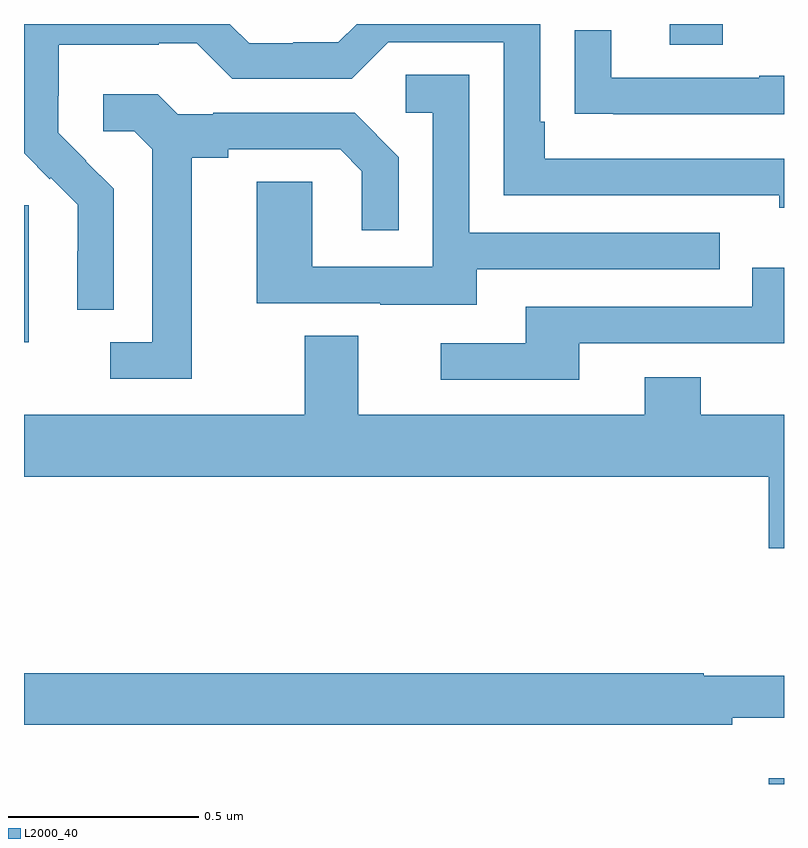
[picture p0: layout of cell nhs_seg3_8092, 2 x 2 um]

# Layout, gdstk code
import gdstk
lib = gdstk.Library(unit=1e-6, precision=1e-09)
def R(c, l, rs):  # rectangles x0, y0, x1, y1
    for r in rs: c.add(gdstk.rectangle(r[:2], r[2:], *l))
def P(c, l, *ps):  # polygons
    for p in ps: c.add(gdstk.Polygon(p, *l))
L2000_40 = (2000, 40)

nhs_seg3_8092 = lib.new_cell('nhs_seg3_8092')
R(nhs_seg3_8092, L2000_40, [(212.96,741.4,213,741.415), (211,742.562,211.012,742.923), (212.699,743.346,212.839,743.4)])
P(nhs_seg3_8092, L2000_40, [(211.236,742.966),(211.163,743.039),(211.164,743.04),(211.09,743.114),(211.09,743.211),(211.092,743.211),(211.092,743.345),(211.355,743.345),(211.355,743.349),(211.455,743.349),(211.548,743.256),(211.863,743.256),(211.959,743.352),(212.262,743.352),(212.262,742.95),(212.987,742.95),(212.987,742.916),(213,742.916),(213,743.046),(212.371,743.046),(212.371,743.143),(212.358,743.143),(212.358,743.4),(211.875,743.4),(211.827,743.352),(211.709,743.352),(211.709,743.349),(211.593,743.349),(211.542,743.4),(211,743.4),(211,743.06),(211.068,742.992),(211.071,742.995),(211.142,742.925),(211.142,742.802),(211.14,742.802),(211.14,742.648),(211.236,742.648)],
  [(213,743.264),(212.935,743.264),(212.935,743.259),(212.545,743.259),(212.545,743.383),(212.449,743.383),(212.449,743.164),(212.551,743.164),(212.551,743.163),(213,743.163)],
  [(212.191,742.755),(212.831,742.755),(212.831,742.851),(212.172,742.851),(212.172,743.267),(212.004,743.267),(212.004,743.166),(212.076,743.166),(212.076,742.761),(211.758,742.761),(211.758,742.985),(211.613,742.985),(211.613,742.665),(211.937,742.665),(211.937,742.661),(212.191,742.661)],
  [(211.441,743.048),(211.537,743.048),(211.537,743.07),(211.832,743.07),(211.889,743.013),(211.889,742.857),(211.986,742.857),(211.986,743.05),(211.87,743.166),(211.498,743.166),(211.498,743.163),(211.404,743.163),(211.352,743.215),(211.209,743.215),(211.209,743.118),(211.29,743.118),(211.337,743.071),(211.337,742.563),(211.227,742.563),(211.227,742.467),(211.441,742.467)],
  [(212.461,742.56),(213,742.56),(213,742.759),(212.916,742.759),(212.916,742.656),(212.321,742.656),(212.321,742.56),(212.097,742.56),(212.097,742.464),(212.461,742.464)],
  [(213,742.372),(212.781,742.372),(212.781,742.471),(212.633,742.471),(212.633,742.372),(211.879,742.372),(211.879,742.58),(211.739,742.58),(211.739,742.372),(211,742.372),(211,742.208),(212.96,742.208),(212.96,742.02),(213,742.02)],
  [(212.864,741.575),(213,741.575),(213,741.685),(212.789,741.685),(212.789,741.692),(211,741.692),(211,741.556),(212.864,741.556)])

lib.write_gds('nhs_seg3_8092.gds')
